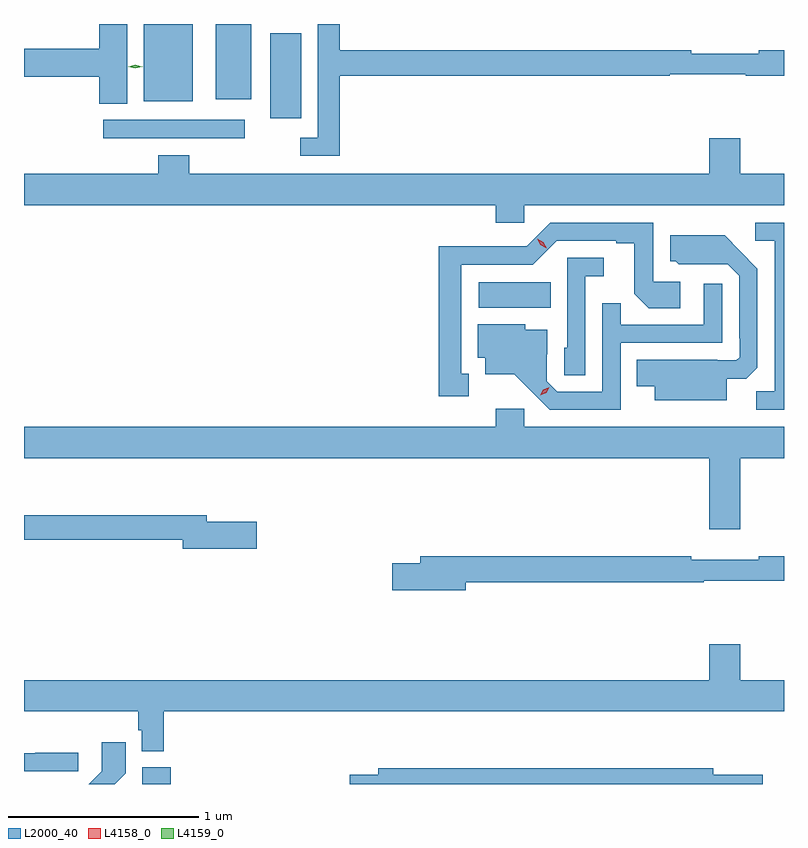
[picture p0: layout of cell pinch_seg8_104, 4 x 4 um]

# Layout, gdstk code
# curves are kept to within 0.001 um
import gdstk
lib = gdstk.Library(unit=1e-6, precision=1e-09)
def R(c, l, rs):  # rectangles x0, y0, x1, y1
    for r in rs: c.add(gdstk.rectangle(r[:2], r[2:], *l))
def P(c, l, *ps):  # polygons
    for p in ps: c.add(gdstk.Polygon(p, *l))
L2000_40 = (2000, 40)
L4158_0 = (4158, 0)
L4159_0 = (4159, 0)

pinch_seg8_104 = lib.new_cell('pinch_seg8_104')
R(pinch_seg8_104, L2000_40, [(1037.147,1104.129,1037.297,1104.217), (1038.918,1106.636,1039.298,1106.77), (1036.941,1107.528,1037.686,1107.624), (1037.822,1107.633,1037.983,1108.081), (1037.156,1107.722,1037.413,1108.129), (1037.534,1107.734,1037.722,1108.129)])
P(pinch_seg8_104, L2000_40, [(1038.188,1107.856),(1039.924,1107.856),(1039.924,1107.864),(1040.324,1107.864),(1040.324,1107.856),(1040.525,1107.856),(1040.525,1107.992),(1040.392,1107.992),(1040.392,1107.973),(1040.036,1107.973),(1040.036,1107.992),(1038.188,1107.992),(1038.188,1108.129),(1038.072,1108.129),(1038.072,1107.531),(1037.978,1107.531),(1037.978,1107.435),(1038.188,1107.435)],
  [(1037.068,1108.129),(1036.922,1108.129),(1036.922,1107.998),(1036.525,1107.998),(1036.525,1107.851),(1036.922,1107.851),(1036.922,1107.709),(1037.068,1107.709)],
  [(1039.158,1107.176),(1040.525,1107.176),(1040.525,1107.34),(1040.296,1107.34),(1040.296,1107.529),(1040.132,1107.529),(1040.132,1107.34),(1037.396,1107.34),(1037.396,1107.439),(1037.231,1107.439),(1037.231,1107.34),(1036.525,1107.34),(1036.525,1107.176),(1039.007,1107.176),(1039.007,1107.083),(1039.158,1107.083)],
  [(1038.865,1106.289),(1038.826,1106.289),(1038.826,1106.862),(1039.203,1106.862),(1039.329,1106.988),(1039.643,1106.988),(1039.643,1106.976),(1039.737,1106.976),(1039.737,1106.708),(1039.813,1106.632),(1039.978,1106.632),(1039.978,1106.772),(1039.836,1106.772),(1039.836,1107.084),(1039.296,1107.084),(1039.17,1106.958),(1038.948,1106.958),(1038.948,1106.96),(1038.708,1106.96),(1038.708,1106.169),(1038.865,1106.169)],
  [(1040.525,1107.084),(1040.373,1107.084),(1040.373,1106.988),(1040.475,1106.988),(1040.475,1106.195),(1040.38,1106.195),(1040.38,1106.1),(1040.525,1106.1)],
  [(1040.224,1106.261),(1040.326,1106.261),(1040.385,1106.32),(1040.385,1106.842),(1040.213,1107.016),(1039.925,1107.016),(1039.925,1106.88),(1039.956,1106.88),(1039.972,1106.864),(1040.229,1106.865),(1040.289,1106.805),(1040.289,1106.476),(1040.292,1106.476),(1040.292,1106.376),(1040.274,1106.358),(1040.174,1106.358),(1040.174,1106.362),(1039.75,1106.362),(1039.75,1106.222),(1039.844,1106.222),(1039.844,1106.15),(1040.224,1106.15)],
  [(1039.479,1106.801),(1039.576,1106.801),(1039.576,1106.898),(1039.383,1106.898),(1039.383,1106.424),(1039.368,1106.424),(1039.368,1106.281),(1039.479,1106.281)],
  [(1039.665,1106.451),(1040.199,1106.451),(1040.199,1106.761),(1040.103,1106.761),(1040.103,1106.547),(1039.667,1106.547),(1039.667,1106.66),(1039.569,1106.66),(1039.569,1106.193),(1039.332,1106.193),(1039.275,1106.25),(1039.275,1106.392),(1039.279,1106.392),(1039.279,1106.521),(1039.164,1106.521),(1039.164,1106.548),(1038.914,1106.548),(1038.914,1106.372),(1038.953,1106.372),(1038.953,1106.285),(1039.105,1106.285),(1039.292,1106.1),(1039.665,1106.1)],
  [(1040.296,1105.844),(1040.525,1105.844),(1040.525,1106.008),(1039.158,1106.008),(1039.158,1106.104),(1039.007,1106.104),(1039.007,1106.008),(1036.525,1106.008),(1036.525,1105.844),(1040.132,1105.844),(1040.132,1105.47),(1040.296,1105.47)],
  [(1037.749,1105.509),(1037.488,1105.509),(1037.488,1105.543),(1036.525,1105.543),(1036.525,1105.414),(1037.36,1105.414),(1037.36,1105.367),(1037.749,1105.367)],
  [(1038.85,1105.192),(1040.103,1105.192),(1040.103,1105.2),(1040.525,1105.2),(1040.525,1105.328),(1040.392,1105.328),(1040.392,1105.309),(1040.036,1105.309),(1040.036,1105.328),(1038.611,1105.328),(1038.611,1105.292),(1038.462,1105.292),(1038.462,1105.15),(1038.85,1105.15)],
  [(1036.525,1104.512),(1037.125,1104.512),(1037.125,1104.411),(1037.145,1104.411),(1037.145,1104.302),(1037.261,1104.302),(1037.261,1104.512),(1040.525,1104.512),(1040.525,1104.676),(1040.296,1104.676),(1040.296,1104.865),(1040.132,1104.865),(1040.132,1104.676),(1036.525,1104.676)],
  [(1037.06,1104.186),(1037.06,1104.349),(1036.935,1104.349),(1036.935,1104.197),(1036.866,1104.129),(1037.003,1104.129)],
  [(1036.81,1104.294),(1036.585,1104.294),(1036.585,1104.291),(1036.525,1104.291),(1036.525,1104.195),(1036.81,1104.195)],
  [(1040.413,1104.177),(1040.152,1104.177),(1040.152,1104.211),(1038.389,1104.211),(1038.389,1104.177),(1038.24,1104.177),(1038.24,1104.129),(1040.413,1104.129)])
P(pinch_seg8_104, L4158_0, [(1039.242,1106.174),(1039.242,1106.174),(1039.259,1106.204),(1039.29,1106.218),(1039.29,1106.218),(1039.29,1106.218),(1039.273,1106.189),(1039.242,1106.174)],
  [(1039.275,1106.948),(1039.243,1106.967),(1039.226,1106.999),(1039.226,1107),(1039.226,1107),(1039.258,1106.98),(1039.275,1106.948),(1039.275,1106.948)])
P(pinch_seg8_104, L4159_0, [(1037.111,1107.895),(1037.074,1107.905),(1037.073,1107.905),(1037.074,1107.905),(1037.111,1107.915),(1037.148,1107.905),(1037.149,1107.905),(1037.148,1107.905)])

lib.write_gds('pinch_seg8_104.gds')
